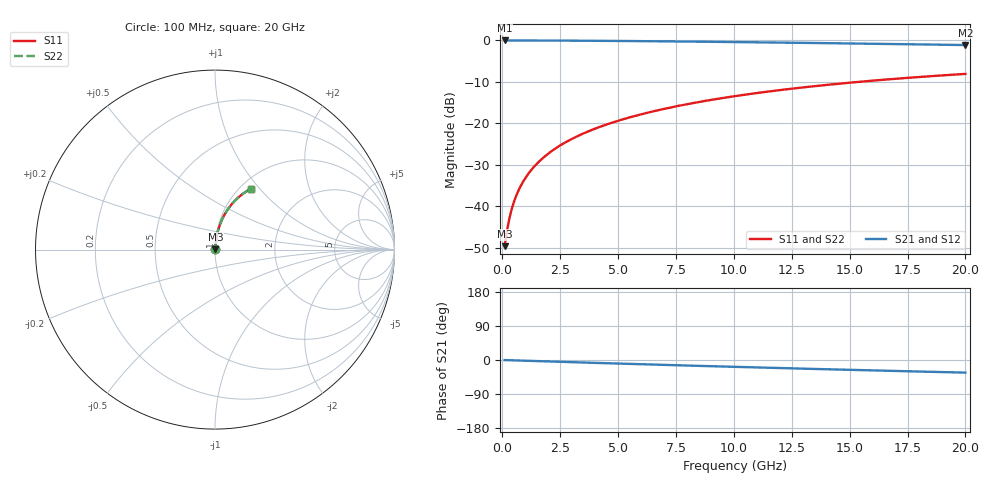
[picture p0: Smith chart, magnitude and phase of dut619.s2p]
! Touchstone file exported from HFSS 2024.1.0
!  File:  C:/UserFiles/LocalFiles/RDL_TSV_Batchsim/temp_RDL_bottom_619_1779783992.aedt
!  Generated:  04:29:17 PM May 26, 2026
!  Design:  RDL_bottom
!  Project:  temp_RDL_bottom_619_1779783992
!  Setup:  Setup1
!  Solution:  Sweep
! Variables:
!  dtsv = 10.80580581um
!  hbump = 3um
!  htsv = 65.13um
!  ldown = 408.83um
!  lrdl = 100um
!  p = 40
!  p1 = 52.5um
!  rhole = 1um
!  t = 450um
!  tdown = 4.83um
!  trdl = 3.915915916um
!  wdown = 12.71um
!  wrdl = 20um
# GHz S MA R 50.000000
! Terminal data exported
! Port[1] = RDL1_T1
! Port[2] = RDL1_T2
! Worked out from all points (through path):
!   200 points, 100 MHz to 20 GHz, reference 50 ohm
!   highest |S21| = -0.02 dB at 100 MHz (marker M1); lowest = -1.1 dB at 20 GHz (marker M2)
!   group delay of S21, straight-line fit = 4.61 ps
!   lowest |S11| = -49.6 dB at 100 MHz (marker M3), VSWR 1.01, Z = 50.2 + j0.224 ohm
!   |S11| at or under -10 dB: start of sweep to 15.4 GHz
!   |S22| runs from -49.6 to -8.1 dB; largest |S21 - S12| = 3.3e-15
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0.1  0.003305 42.4  0.9976 -0.2  0.9976 -0.2  0.003305 42.4
! Gamma 0 0 0 0
! Port Impedance 50 0 50 0
0.2  0.005043 61.2  0.9975 -0.4  0.9975 -0.4  0.005044 61.2
0.3  0.007032 69.7  0.9974 -0.6  0.9974 -0.6  0.007035 69.7
0.4  0.009109 74.2  0.9973 -0.8  0.9973 -0.8  0.009112 74.2
0.5  0.01123 76.9  0.9972 -1.0  0.9972 -1.0  0.01123 76.9
0.6  0.01336 78.7  0.9971 -1.2  0.9971 -1.2  0.01336 78.7
0.8  0.01766 80.8  0.9969 -1.5  0.9969 -1.5  0.01766 80.8
1.1  0.02412 82.4  0.9965 -2.1  0.9965 -2.1  0.02413 82.4
1.5  0.03273 83.2  0.9959 -2.9  0.9959 -2.9  0.03274 83.2
1.8  0.03917 83.4  0.9953 -3.5  0.9953 -3.5  0.03917 83.4
2.1  0.0456 83.4  0.9946 -4.0  0.9946 -4.0  0.0456 83.4
2.7  0.05841 83.2  0.993 -5.2  0.993 -5.2  0.05842 83.2
3.5  0.07545 82.5  0.9903 -6.6  0.9903 -6.6  0.07546 82.5
4.2  0.09034 81.8  0.9876 -7.9  0.9876 -7.9  0.09035 81.8
5  0.1073 80.9  0.984 -9.4  0.984 -9.4  0.1073 80.9
5.9  0.1264 79.8  0.9795 -11.0  0.9795 -11.0  0.1264 79.8
6.8  0.1454 78.6  0.9746 -12.6  0.9746 -12.6  0.1454 78.6
8.3  0.1767 76.5  0.9657 -15.2  0.9657 -15.2  0.1768 76.6
10.1  0.2137 73.9  0.954 -18.2  0.954 -18.2  0.2138 73.9
13.4  0.2789 69.0  0.9304 -23.5  0.9304 -23.5  0.279 69.0
16.7  0.3394 64.1  0.9049 -28.5  0.9049 -28.5  0.3395 64.1
20  0.3945 59.4  0.8781 -33.3  0.8781 -33.3  0.3946 59.4
